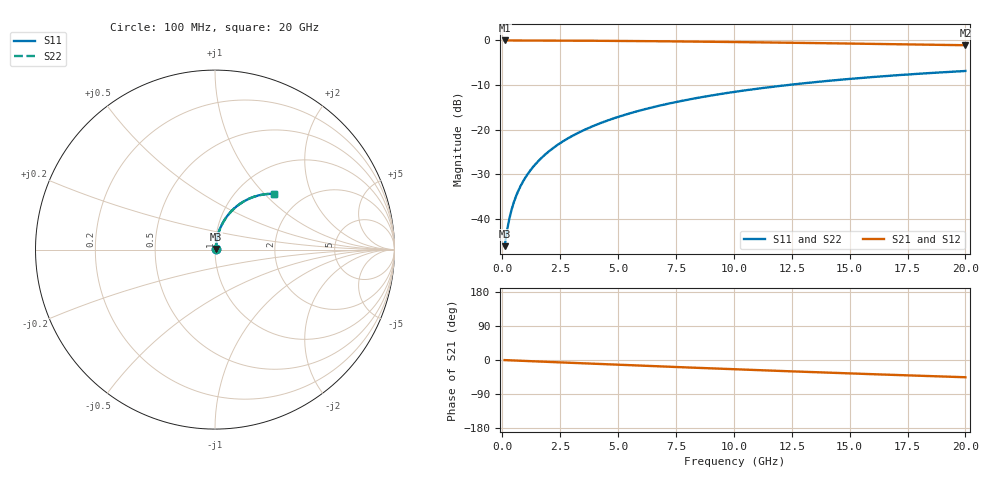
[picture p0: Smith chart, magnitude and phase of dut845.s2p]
! Touchstone file exported from HFSS 2026.1.0
!  File:  C:/ffzhzh/LocalFiles/Ansys_Project_Files/temp_train_TMRDL_845_1783156882_55132.aedt
!  Generated:  05:22:40 PM Jul  4, 2026
!  Design:  TMRDL
!  Project:  temp_train_TMRDL_845_1783156882_55132
! Variables:
!  h_bsmrdl = 2um
!  h_ox = 20um
!  h_rdl = 5um
!  h_sub = 80um
!  h_tmrdl = 2.57um
!  h_tsv = 80um
!  h_via = 3um
!  l_bsmrdl = 300um
!  l_sub = 1025.67um
!  l_tmrdl = 625.67um
!  m_sub = 200um
!  pitch = 58.99um
!  r_tsv = 6um
!  s_tmrdl = 10um
!  w_bsmrdl = 18um
!  w_sub = 500um
!  w_tmrdl = 23.72um
!  x_tsv_center1 = 637.53um
!  x_tsv_center2 = 955.53um
!  x_tsv_center3 = 1604.92um
!  x_tsv_center4 = 1922.92um
!  x_tsv_center5 = 2572.31um
!  x_tsv_center6 = 2890.31um
# GHz S MA R 50.000000
! Terminal data exported
! Port[1] = TM_RDL1_1_T1
! Port[2] = TM_RDL1_1_T2
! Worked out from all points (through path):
!   200 points, 100 MHz to 20 GHz, reference 50 ohm
!   highest |S21| = -0.03 dB at 100 MHz (marker M1); lowest = -1.1 dB at 20 GHz (marker M2)
!   group delay of S21, straight-line fit = 6.34 ps
!   lowest |S11| = -46.1 dB at 100 MHz (marker M3), VSWR 1.01, Z = 50.4 + j0.307 ohm
!   |S11| at or under -10 dB: start of sweep to 12.35 GHz
!   |S22| runs from -46.1 to -6.9 dB; largest |S21 - S12| = 3.1e-15
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0.1  0.00496 37.9  0.9961 -0.3  0.9961 -0.3  0.00496 37.9
! Gamma 0 0 0 0
! Port Impedance 50 0 50 0
0.2  0.00729 56.0  0.996 -0.5  0.996 -0.5  0.00729 56.0
0.3  0.009951 64.4  0.9958 -0.8  0.9958 -0.8  0.009951 64.4
0.4  0.01268 68.9  0.9956 -1.0  0.9956 -1.0  0.01268 68.9
0.5  0.01543 71.8  0.9954 -1.3  0.9954 -1.3  0.01543 71.8
0.6  0.01817 73.8  0.9952 -1.5  0.9952 -1.5  0.01817 73.8
0.8  0.02364 76.3  0.9949 -2.0  0.9949 -2.0  0.02364 76.3
1.1  0.03189 78.2  0.9945 -2.8  0.9945 -2.8  0.03189 78.2
1.3  0.03741 79.0  0.9943 -3.3  0.9943 -3.3  0.03741 79.0
1.6  0.0457 79.5  0.9938 -4.0  0.9938 -4.0  0.0457 79.5
2.1  0.05955 79.6  0.993 -5.3  0.993 -5.3  0.05955 79.6
2.7  0.07615 79.2  0.9917 -6.8  0.9917 -6.8  0.07615 79.2
3.5  0.09815 78.0  0.9896 -8.8  0.9896 -8.8  0.09815 78.0
4.2  0.1172 76.7  0.9873 -10.5  0.9873 -10.5  0.1172 76.7
5  0.1387 75.0  0.9843 -12.5  0.9843 -12.5  0.1387 75.0
5.9  0.1625 73.1  0.9804 -14.7  0.9804 -14.7  0.1625 73.1
6.8  0.1858 71.1  0.9759 -16.8  0.9759 -16.8  0.1858 71.1
8.3  0.2235 67.8  0.9675 -20.4  0.9675 -20.4  0.2235 67.7
10.1  0.2664 63.7  0.956 -24.6  0.956 -24.6  0.2664 63.7
13.4  0.3381 56.5  0.9321 -32.0  0.9321 -32.0  0.3381 56.5
16.7  0.4005 49.7  0.9065 -38.9  0.9065 -38.9  0.4005 49.7
20  0.4536 43.2  0.881 -45.5  0.881 -45.5  0.4536 43.2
